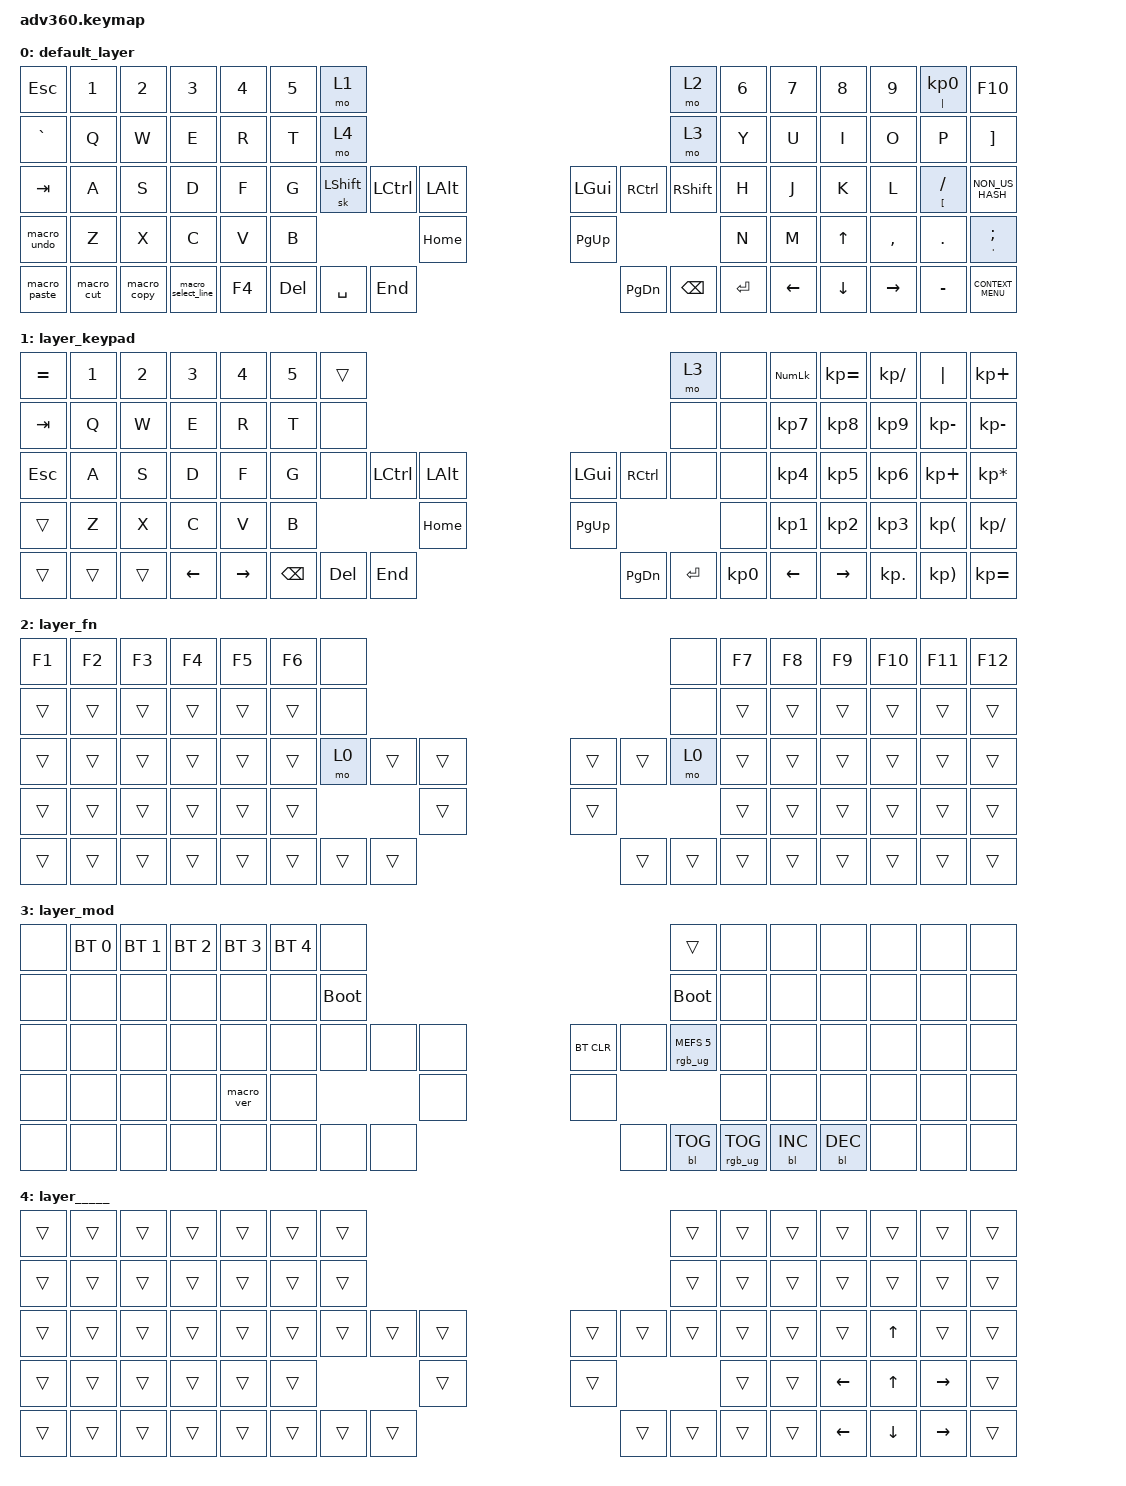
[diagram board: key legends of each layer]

/*
 * Copyright (c) 2020 The ZMK Contributors
 *
 * SPDX-License-Identifier: MIT
 */


/* THIS FILE WAS GENERATED!
 *
 * This file was generated automatically. You may or may not want to
 * edit it directly.
 */

#include <behaviors.dtsi>
#include <dt-bindings/zmk/keys.h>
#include <dt-bindings/zmk/bt.h>
#include <dt-bindings/zmk/rgb.h>
#include <dt-bindings/zmk/backlight.h>

/ {
  behaviors {
    #include "macros.dtsi"
    #include "version.dtsi"

    hm: homerow_mods {
        compatible = "zmk,behavior-hold-tap";
        label = "HOMEROW_MODS";
        #binding-cells = <2>;
        tapping-term-ms = <200>;
        quick_tap_ms = <175>;
        flavor = "tap-preferred";
        bindings = <&kp>, <&kp>;
    };
  };

    keymap {
        compatible = "zmk,keymap";


        default_layer {
            bindings = <
      &kp ESC      &kp N1       &kp N2              &kp N3  &kp N4  &kp N5                     &mo 1                                                                           &mo 2  &kp N6    &kp N7    &kp N8     &kp N9   &mt PIPE KP_NUMBER_0                     &kp F10
    &kp GRAVE       &kp Q        &kp W               &kp E   &kp R   &kp T                     &mo 4                                                                           &mo 3   &kp Y     &kp U     &kp I      &kp O                  &kp P           &kp RIGHT_BRACKET
      &kp TAB       &kp A        &kp S               &kp D   &kp F   &kp G            &sk LEFT_SHIFT  &kp LCTRL  &kp LALT                   &kp LGUI      &kp RCTRL  &kp RIGHT_SHIFT   &kp H     &kp J     &kp K      &kp L  &mt LEFT_BRACKET FSLH             &kp NON_US_HASH
  &macro_undo       &kp Z        &kp X               &kp C   &kp V   &kp B                                       &kp HOME                  &kp PG_UP                                   &kp N     &kp M    &kp UP  &kp COMMA             &kp PERIOD  &mt SINGLE_QUOTE SEMICOLON
 &macro_paste  &macro_cut  &macro_copy  &macro_select_line  &kp F4                           &kp DEL  &kp SPACE   &kp END                  &kp PG_DN  &kp BACKSPACE        &kp ENTER          &kp LEFT  &kp DOWN  &kp RIGHT              &kp MINUS          &kp K_CONTEXT_MENU
            >;
        };

        layer_keypad {
            bindings = <
 &kp EQUAL  &kp N1  &kp N2    &kp N3     &kp N4  &kp N5              &trans                                                                 &mo 3   &none  &kp KP_NUM  &kp KP_EQUAL  &kp KP_DIVIDE                  &kp PIPE      &kp KP_PLUS
   &kp TAB   &kp Q   &kp W     &kp E      &kp R   &kp T               &none                                                                 &none   &none   &kp KP_N7     &kp KP_N8      &kp KP_N9              &kp KP_MINUS     &kp KP_MINUS
   &kp ESC   &kp A   &kp S     &kp D      &kp F   &kp G               &none  &kp LCTRL  &kp LALT                   &kp LGUI  &kp RCTRL      &none   &none   &kp KP_N4     &kp KP_N5      &kp KP_N6               &kp KP_PLUS  &kp KP_MULTIPLY
    &trans   &kp Z   &kp X     &kp C      &kp V   &kp B                                 &kp HOME                  &kp PG_UP                         &none   &kp KP_N1     &kp KP_N2      &kp KP_N3   &kp KP_LEFT_PARENTHESIS    &kp KP_DIVIDE
    &trans  &trans  &trans  &kp LEFT  &kp RIGHT                    &kp BSPC    &kp DEL   &kp END                  &kp PG_DN  &kp ENTER  &kp KP_N0            &kp LEFT     &kp RIGHT     &kp KP_DOT  &kp KP_RIGHT_PARENTHESIS     &kp KP_EQUAL
            >;
        };

        layer_fn {
            bindings = <
 &kp F1  &kp F2  &kp F3  &kp F4  &kp F5  &kp F6             &none                                                   &none  &kp F7  &kp F8  &kp F9  &kp F10  &kp F11  &kp F12
 &trans  &trans  &trans  &trans  &trans  &trans             &none                                                   &none  &trans  &trans  &trans   &trans   &trans   &trans
 &trans  &trans  &trans  &trans  &trans  &trans             &mo 0  &trans  &trans                  &trans  &trans   &mo 0  &trans  &trans  &trans   &trans   &trans   &trans
 &trans  &trans  &trans  &trans  &trans  &trans                            &trans                  &trans                  &trans  &trans  &trans   &trans   &trans   &trans
 &trans  &trans  &trans  &trans  &trans                    &trans  &trans  &trans                  &trans  &trans  &trans          &trans  &trans   &trans   &trans   &trans
            >;
        };

        layer_mod {
            bindings = <
  &none  &bt BT_SEL 0  &bt BT_SEL 1  &bt BT_SEL 2  &bt BT_SEL 3  &bt BT_SEL 4                  &none                                                                          &trans   &none       &none       &none   &none   &none   &none
  &none         &none         &none         &none         &none         &none            &bootloader                                                                     &bootloader   &none       &none       &none   &none   &none   &none
  &none         &none         &none         &none         &none         &none                  &none   &none   &none                  &bt BT_CLR       &none  &rgb_ug RGB_MEFS_CMD 5   &none       &none       &none   &none   &none   &none
  &none         &none         &none         &none    &macro_ver         &none                                  &none                       &none                                       &none       &none       &none   &none   &none   &none
  &none         &none         &none         &none         &none                                &none   &none   &none                       &none  &bl BL_TOG         &rgb_ug RGB_TOG          &bl BL_INC  &bl BL_DEC   &none   &none   &none
            >;
        };

        layer_____ {
            bindings = <
 &trans  &trans  &trans  &trans  &trans  &trans            &trans                                                  &trans  &trans  &trans    &trans    &trans     &trans  &trans
 &trans  &trans  &trans  &trans  &trans  &trans            &trans                                                  &trans  &trans  &trans    &trans    &trans     &trans  &trans
 &trans  &trans  &trans  &trans  &trans  &trans            &trans  &trans  &trans                  &trans  &trans  &trans  &trans  &trans    &trans    &kp UP     &trans  &trans
 &trans  &trans  &trans  &trans  &trans  &trans                            &trans                  &trans                  &trans  &trans  &kp LEFT    &kp UP  &kp RIGHT  &trans
 &trans  &trans  &trans  &trans  &trans                    &trans  &trans  &trans                  &trans  &trans  &trans          &trans  &kp LEFT  &kp DOWN  &kp RIGHT  &trans
            >;
        };

    };
};
